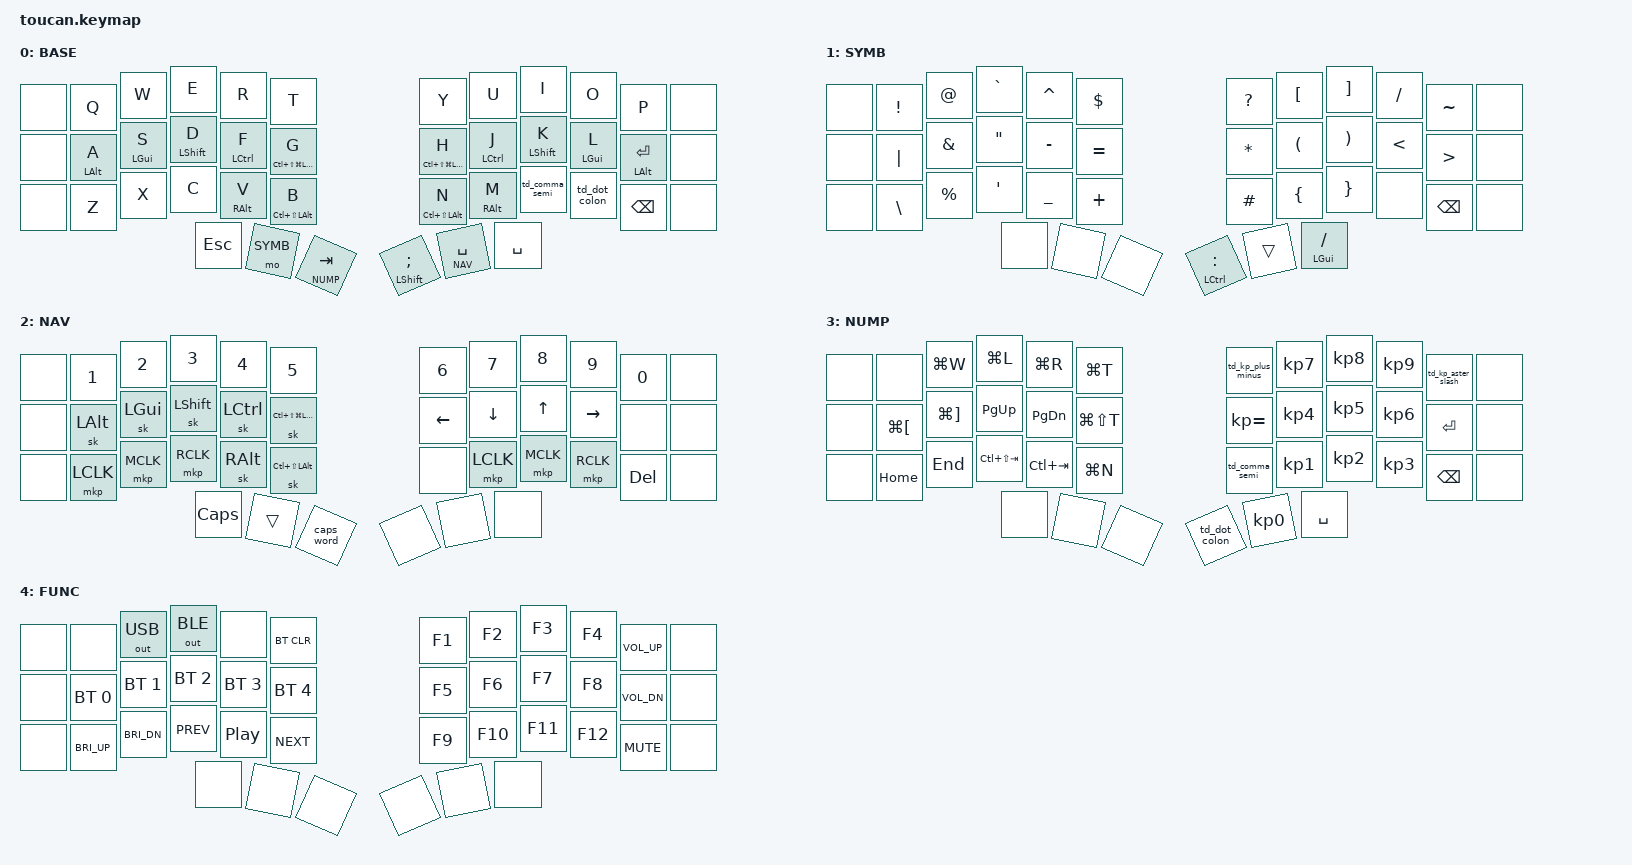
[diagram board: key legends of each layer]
// vim: cursorcolumn:ft=dts

#define ZMK_POINTING_DEFAULT_MOVE_VAL 1500  // default: 600
#define ZMK_POINTING_DEFAULT_SCRL_VAL 15    // default: 10

#include <behaviors.dtsi>
#include <dt-bindings/zmk/keys.h>
#include <dt-bindings/zmk/bt.h>
#include <dt-bindings/zmk/outputs.h>
#include <dt-bindings/zmk/pointing.h>
#include "zmk-helpers/helper.h"

#define BASE 0
#define SYMB 1
#define NAV 2
#define NUMP 3
#define FUNC 4

#define HYPER LC(LS(LG(LALT)))
#define MEH LC(LS(LALT))
#define PREVTAB LC(LS(TAB))
#define NEXTTAB LC(TAB)
#define NAVBACK LG(LBKT)
#define NAVFWD LG(RBKT)

#define KP_ASTR KP_ASTERISK

/* Logical Toucan 36 positions within the stock 42-key Toucan transform. */
#define LT0 1
#define LT1 2
#define LT2 3
#define LT3 4
#define LT4 5
#define RT0 6
#define RT1 7
#define RT2 8
#define RT3 9
#define RT4 10
#define LM0 13
#define LM1 14
#define LM2 15
#define LM3 16
#define LM4 17
#define RM0 18
#define RM1 19
#define RM2 20
#define RM3 21
#define RM4 22
#define LB0 25
#define LB1 26
#define LB2 27
#define LB3 28
#define LB4 29
#define RB0 30
#define RB1 31
#define RB2 32
#define RB3 33
#define RB4 34
#define LH2 36
#define LH1 37
#define LH0 38
#define RH0 39
#define RH1 40
#define RH2 41

#define KEYS_L LT0 LT1 LT2 LT3 LT4 LM0 LM1 LM2 LM3 LM4 LB0 LB1 LB2 LB3 LB4
#define KEYS_R RT0 RT1 RT2 RT3 RT4 RM0 RM1 RM2 RM3 RM4 RB0 RB1 RB2 RB3 RB4
#define THUMBS LH2 LH1 LH0 RH0 RH1 RH2

/* left-hand HRMs */
ZMK_BEHAVIOR(hml, hold_tap,
    flavor = "balanced";
    tapping-term-ms = <300>;
    quick-tap-ms = <175>;
    require-prior-idle-ms = <150>;
    bindings = <&kp>, <&kp>;
    hold-trigger-key-positions = <KEYS_R THUMBS>;
    hold-trigger-on-release;
)

/* right-hand HRMs */
ZMK_BEHAVIOR(hmr, hold_tap,
    flavor = "balanced";
    tapping-term-ms = <300>;
    quick-tap-ms = <175>;
    require-prior-idle-ms = <150>;
    bindings = <&kp>, <&kp>;
    hold-trigger-key-positions = <KEYS_L THUMBS>;
    hold-trigger-on-release;
)

/* left-hand HRM shift */
ZMK_BEHAVIOR(hml_s, hold_tap,
    flavor = "balanced";
    tapping-term-ms = <200>;
    quick-tap-ms = <175>;
    require-prior-idle-ms = <150>;
    bindings = <&kp>, <&kp>;
    hold-trigger-key-positions = <KEYS_R THUMBS>;
)

/* right-hand HRM shift */
ZMK_BEHAVIOR(hmr_s, hold_tap,
    flavor = "balanced";
    tapping-term-ms = <200>;
    quick-tap-ms = <175>;
    require-prior-idle-ms = <150>;
    bindings = <&kp>, <&kp>;
    hold-trigger-key-positions = <KEYS_L THUMBS>;
)

/* symbol-layer HRMs */
ZMK_BEHAVIOR(hml_sym, hold_tap,
    flavor = "tap-preferred";
    tapping-term-ms = <150>;
    quick-tap-ms = <0>;
    require-prior-idle-ms = <200>;
    bindings = <&kp>, <&kp>;
    hold-trigger-key-positions = <KEYS_R THUMBS>;
)

ZMK_BEHAVIOR(hmr_sym, hold_tap,
    flavor = "tap-preferred";
    tapping-term-ms = <150>;
    quick-tap-ms = <0>;
    require-prior-idle-ms = <200>;
    bindings = <&kp>, <&kp>;
    hold-trigger-key-positions = <KEYS_L THUMBS>;
)

/* hold tap */
ZMK_BEHAVIOR(ht, hold_tap,
    flavor = "tap-preferred";
    tapping-term-ms = <200>;
    quick-tap-ms = <0>;
    require-prior-idle-ms = <0>;
    bindings = <&kp>, <&kp>;
)

/* fast layer-tap for ESC/SYMB */
ZMK_BEHAVIOR(lt_fast, hold_tap,
    flavor = "tap-preferred";
    tapping-term-ms = <200>;
    quick-tap-ms = <150>;
    bindings = <&mo>, <&kp>;
)

&mt {
    tapping-term-ms = <150>;
};

/ {
    behaviors {
        mo_tog: behavior_mo_tog {
            compatible = "zmk,behavior-hold-tap";
            #binding-cells = <2>;
            flavor = "hold-preferred";
            tapping-term-ms = <200>;
            bindings = <&mo>, <&tog>;
        };

        td_comma_semi: tap_dance_comma_semi {
            compatible = "zmk,behavior-tap-dance";
            #binding-cells = <0>;
            tapping-term-ms = <200>;
            bindings = <&kp COMMA>, <&kp SEMI>;
        };

        td_dot_colon: tap_dance_dot_colon {
            compatible = "zmk,behavior-tap-dance";
            #binding-cells = <0>;
            tapping-term-ms = <200>;
            bindings = <&kp DOT>, <&kp COLON>;
        };

        td_kp_plus_minus: tap_dance_kp_plus_minus {
            compatible = "zmk,behavior-tap-dance";
            #binding-cells = <0>;
            tapping-term-ms = <200>;
            bindings = <&kp KP_PLUS>, <&kp KP_MINUS>;
        };

        td_kp_aster_slash: tap_dance_kp_aster_slash {
            compatible = "zmk,behavior-tap-dance";
            #binding-cells = <0>;
            tapping-term-ms = <200>;
            bindings = <&kp KP_ASTR>, <&kp KP_SLASH>;
        };
    };

    combos {
        compatible = "zmk,combos";

        combo_enter_left {
            timeout-ms = <30>;
            require-prior-idle-ms = <150>;
            key-positions = <LM2 LM3>;
            bindings = <&kp RET>;
            layers = <BASE NUMP>;
        };

        combo_enter_right {
            timeout-ms = <30>;
            require-prior-idle-ms = <150>;
            key-positions = <RM1 RM2>;
            bindings = <&kp RET>;
            layers = <BASE NUMP>;
        };

        combo_backspace_left {
            timeout-ms = <30>;
            require-prior-idle-ms = <150>;
            key-positions = <LM1 LM2>;
            bindings = <&kp BSPC>;
            layers = <BASE NUMP>;
        };

        combo_backspace_right {
            timeout-ms = <30>;
            require-prior-idle-ms = <150>;
            key-positions = <RM2 RM3>;
            bindings = <&kp BSPC>;
            layers = <BASE NUMP>;
        };

        combo_cut {
            timeout-ms = <30>;
            require-prior-idle-ms = <150>;
            key-positions = <LB1 LB2>;
            bindings = <&kp LG(X)>;
            layers = <BASE>;
        };

        combo_copy {
            timeout-ms = <30>;
            require-prior-idle-ms = <150>;
            key-positions = <LB2 LB3>;
            bindings = <&kp LG(C)>;
            layers = <BASE>;
        };

        combo_paste {
            timeout-ms = <30>;
            require-prior-idle-ms = <150>;
            key-positions = <LB3 LB4>;
            bindings = <&kp LG(V)>;
            layers = <BASE>;
        };

        combo_sel_all {
            timeout-ms = <30>;
            require-prior-idle-ms = <150>;
            key-positions = <LB1 LB2 LB3>;
            bindings = <&kp LG(A)>;
            layers = <BASE>;
        };

        combo_nav_page_up {
            timeout-ms = <30>;
            require-prior-idle-ms = <150>;
            key-positions = <RM1 RM2>;
            bindings = <&kp PG_UP>;
            layers = <NAV>;
        };

        combo_nav_page_down {
            timeout-ms = <30>;
            require-prior-idle-ms = <150>;
            key-positions = <RM2 RM3>;
            bindings = <&kp PG_DN>;
            layers = <NAV>;
        };

    };

    conditional_layers {
        compatible = "zmk,conditional-layers";

        func_layer {
            if-layers = <SYMB NAV>;
            then-layer = <FUNC>;
        };
    };

    keymap {
        compatible = "zmk,keymap";

        base_layer {
            display-name = "BASE";
            bindings = <
       &none        &kp Q        &kp W        &kp E          &kp R             &kp T              &kp Y           &kp U        &kp I          &kp O       &kp P         &none
       &none        &hml LALT A  &hml LGUI S  &hml_s LSHFT D &hml LCTRL F      &hml HYPER G       &hmr HYPER H    &hmr LCTRL J &hmr_s LSHFT K &hmr LGUI L &hmr LALT RET &none
       &none        &kp Z        &kp X        &kp C          &hml RALT V       &hml MEH B         &hmr MEH N      &hmr RALT M  &td_comma_semi &td_dot_colon &kp BSPC      &none
                                                            &kp ESC         &mo SYMB &lt NUMP TAB    &mt LSHFT SEMI  &lt NAV SPACE  &kp SPACE
            >;
        };

        symbols_layer {
            display-name = "SYMB";
            bindings = <
       &none  &kp EXCL  &kp AT       &kp GRAVE  &kp CARET  &kp DLLR      &kp QUESTION  &kp LBKT  &kp RBKT  &kp FSLH &kp TILDE &none
       &none  &kp PIPE  &kp AMPS     &kp DQT    &kp MINUS  &kp EQUAL     &kp STAR      &kp LPAR  &kp RPAR  &kp LT  &kp GT    &none
       &none  &kp BSLH  &kp PERCENT  &kp SQT    &kp UNDER  &kp PLUS      &kp HASH      &kp LBRC  &kp RBRC  &none   &kp BSPC  &none
                                               &none        &none         &none         &mt LCTRL COLON &trans    &mt LGUI FSLH
            >;
        };

        navigation_layer {
            display-name = "NAV";
            bindings = <
       &none        &kp N1       &kp N2       &kp N3       &kp N4       &kp N5             &kp N6       &kp N7       &kp N8       &kp N9       &kp N0       &none
       &none        &sk LALT     &sk LGUI     &sk LSHIFT   &sk LCTRL    &sk HYPER          &kp LEFT     &kp DOWN     &kp UP       &kp RIGHT    &none       &none
       &none        &mkp LCLK    &mkp MCLK    &mkp RCLK    &sk RALT     &sk MEH            &none        &mkp LCLK    &mkp MCLK    &mkp RCLK    &kp DELETE  &none
                                                          &kp CAPS    &trans       &caps_word         &none        &none        &none
            >;
        };

        numpad_layer {
            display-name = "NUMP";
            bindings = <
       &none        &none        &kp LG(W)    &kp LG(L)    &kp LG(R)    &kp LG(T)          &td_kp_plus_minus &kp KP_N7    &kp KP_N8    &kp KP_N9    &td_kp_aster_slash &none
       &none        &kp NAVBACK  &kp NAVFWD   &kp PG_UP    &kp PG_DN    &kp LG(LS(T))      &kp KP_EQUAL &kp KP_N4    &kp KP_N5    &kp KP_N6    &kp RET      &none
       &none        &kp HOME     &kp END      &kp PREVTAB  &kp NEXTTAB  &kp LG(N)          &td_comma_semi &kp KP_N1    &kp KP_N2    &kp KP_N3    &kp BSPC     &none
                                                          &none        &none        &none              &td_dot_colon &kp KP_N0    &kp SPACE
            >;
        };

        func_layer {
            display-name = "FUNC";
            bindings = <
       &none        &none        &out OUT_USB &out OUT_BLE &none        &bt BT_CLR         &kp F1       &kp F2       &kp F3       &kp F4       &kp C_VOL_UP &none
       &none        &bt BT_SEL 0 &bt BT_SEL 1 &bt BT_SEL 2 &bt BT_SEL 3 &bt BT_SEL 4       &kp F5       &kp F6       &kp F7       &kp F8       &kp C_VOL_DN &none
       &none        &kp C_BRI_UP &kp C_BRI_DN &kp C_PREV   &kp C_PLAY_PAUSE &kp C_NEXT     &kp F9       &kp F10      &kp F11      &kp F12      &kp C_MUTE   &none
                                                       &none        &none        &none              &none        &none        &none
            >;
        };
    };
};
